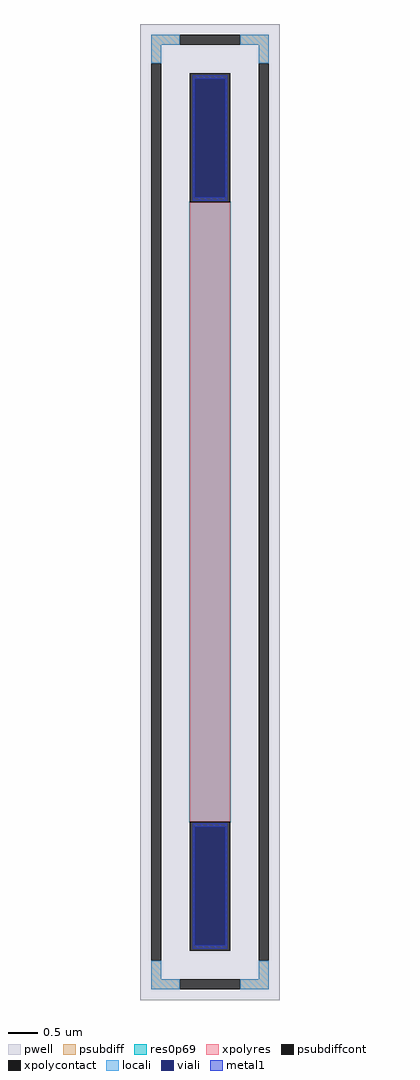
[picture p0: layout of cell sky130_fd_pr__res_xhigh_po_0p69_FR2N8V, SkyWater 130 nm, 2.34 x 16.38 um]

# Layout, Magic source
magic
tech sky130A
<< pwell >>
rect -117 -819 117 819
<< psubdiff >>
rect -99 784 -51 801
rect 51 784 99 801
rect -99 753 -82 784
rect 82 753 99 784
rect -99 -784 -82 -753
rect 82 -784 99 -753
rect -99 -801 -51 -784
rect 51 -801 99 -784
<< psubdiffcont >>
rect -51 784 51 801
rect -99 -753 -82 753
rect 82 -753 99 753
rect -51 -801 51 -784
<< xpolycontact >>
rect -34 520 34 736
rect -34 -736 34 -520
<< xpolyres >>
rect -34 -520 34 520
<< locali >>
rect -99 784 -51 801
rect 51 784 99 801
rect -99 753 -82 784
rect 82 753 99 784
rect -99 -784 -82 -753
rect 82 -784 99 -753
rect -99 -801 -51 -784
rect 51 -801 99 -784
<< viali >>
rect -26 528 26 727
rect -26 -727 26 -528
<< metal1 >>
rect -29 727 29 733
rect -29 528 -26 727
rect 26 528 29 727
rect -29 522 29 528
rect -29 -528 29 -522
rect -29 -727 -26 -528
rect 26 -727 29 -528
rect -29 -733 29 -727
<< res0p69 >>
rect -35 -521 35 521
<< properties >>
string FIXED_BBOX -91 -792 91 792
string gencell sky130_fd_pr__res_xhigh_po_0p69
string library sky130
string parameters w 0.690 l 10.4 m 1 nx 1 wmin 0.690 lmin 0.50 rho 2000 val 30.69k dummy 0 dw 0.0 term 188.2 sterm 0.0 caplen 0 wmax 0.690 guard 1 glc 1 grc 1 gtc 1 gbc 1 compatible {sky130_fd_pr__res_xhigh_po_0p35  sky130_fd_pr__res_xhigh_po_0p69 sky130_fd_pr__res_xhigh_po_1p41  sky130_fd_pr__res_xhigh_po_2p85 sky130_fd_pr__res_xhigh_po_5p73} snake 0 full_metal 1 n_guard 0 hv_guard 0 vias 1 viagb 0 viagt 0 viagl 0 viagr 0
<< end >>
